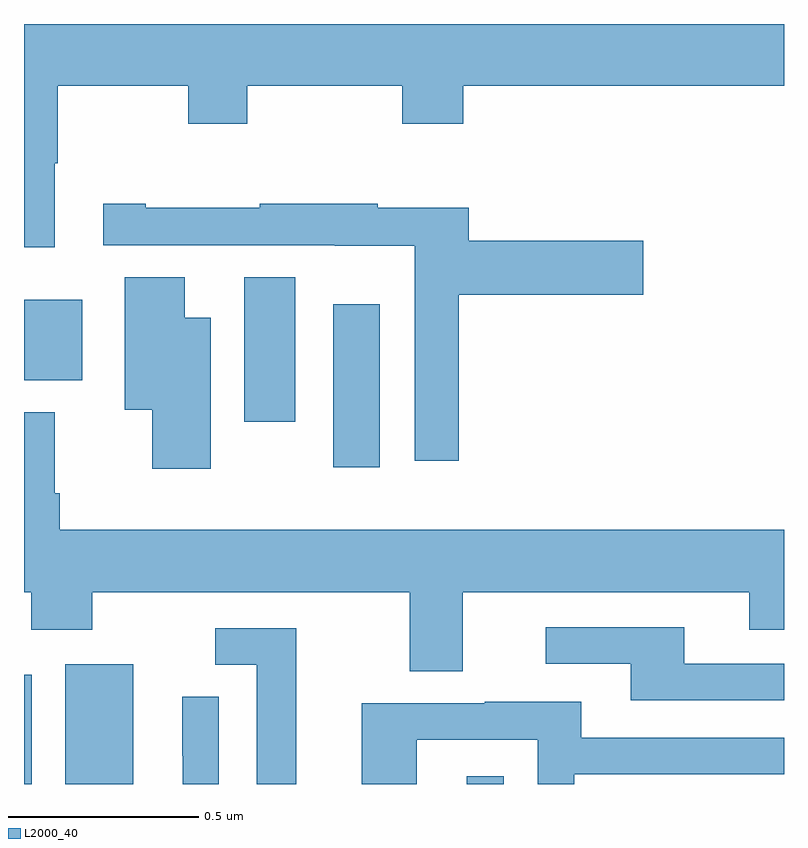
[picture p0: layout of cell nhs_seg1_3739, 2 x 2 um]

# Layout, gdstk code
import gdstk
lib = gdstk.Library(unit=1e-6, precision=1e-09)
def R(c, l, rs):  # rectangles x0, y0, x1, y1
    for r in rs: c.add(gdstk.rectangle(r[:2], r[2:], *l))
def P(c, l, *ps):  # polygons
    for p in ps: c.add(gdstk.Polygon(p, *l))
L2000_40 = (2000, 40)

nhs_seg1_3739 = lib.new_cell('nhs_seg1_3739')
R(nhs_seg1_3739, L2000_40, [(157,579.199,157.02,579.486), (157.109,579.199,157.288,579.514), (158.165,579.199,158.262,579.22), (157.814,580.032,157.936,580.462), (157.58,580.152,157.714,580.532), (157,580.262,157.153,580.474)])
P(nhs_seg1_3739, L2000_40, [(157.081,580.832),(157.089,580.832),(157.089,581.036),(157.432,581.036),(157.432,580.937),(157.587,580.937),(157.587,581.036),(157.996,581.036),(157.996,580.937),(158.156,580.937),(158.156,581.036),(159,581.036),(159,581.199),(157,581.199),(157,580.611),(157.081,580.611)],
  [(158.144,580.487),(158.629,580.487),(158.629,580.629),(158.171,580.629),(158.171,580.716),(157.931,580.716),(157.931,580.726),(157.621,580.726),(157.621,580.716),(157.321,580.716),(157.321,580.726),(157.209,580.726),(157.209,580.617),(157.818,580.617),(157.818,580.616),(158.028,580.616),(158.028,580.05),(158.144,580.05)],
  [(157.492,580.426),(157.423,580.426),(157.423,580.532),(157.265,580.532),(157.265,580.184),(157.337,580.184),(157.337,580.029),(157.492,580.029)],
  [(158.155,579.704),(158.909,579.704),(158.909,579.605),(159,579.605),(159,579.868),(157.094,579.868),(157.094,579.964),(157.081,579.964),(157.081,580.177),(157,580.177),(157,579.704),(157.019,579.704),(157.019,579.605),(157.179,579.605),(157.179,579.704),(158.015,579.704),(158.015,579.496),(158.155,579.496)],
  [(159,579.516),(158.737,579.516),(158.737,579.612),(158.373,579.612),(158.373,579.516),(158.597,579.516),(158.597,579.42),(159,579.42)],
  [(157.717,579.609),(157.503,579.609),(157.503,579.513),(157.613,579.513),(157.613,579.199),(157.717,579.199)],
  [(157.512,579.428),(157.416,579.428),(157.416,579.274),(157.418,579.274),(157.418,579.199),(157.512,579.199)],
  [(158.034,579.315),(158.352,579.315),(158.352,579.199),(158.448,579.199),(158.448,579.225),(159,579.225),(159,579.321),(158.467,579.321),(158.467,579.415),(158.213,579.415),(158.213,579.411),(157.889,579.411),(157.889,579.199),(158.034,579.199)])

lib.write_gds('nhs_seg1_3739.gds')
